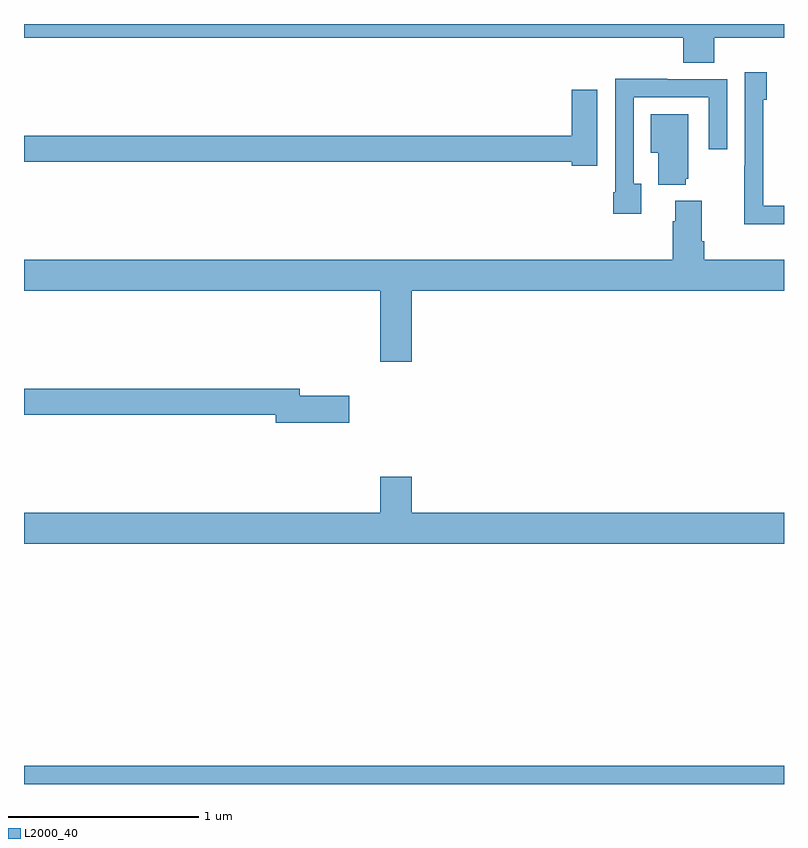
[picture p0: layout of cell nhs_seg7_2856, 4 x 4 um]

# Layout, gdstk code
import gdstk
lib = gdstk.Library(unit=1e-6, precision=1e-09)
def R(c, l, rs):  # rectangles x0, y0, x1, y1
    for r in rs: c.add(gdstk.rectangle(r[:2], r[2:], *l))
def P(c, l, *ps):  # polygons
    for p in ps: c.add(gdstk.Polygon(p, *l))
L2000_40 = (2000, 40)

nhs_seg7_2856 = lib.new_cell('nhs_seg7_2856')
R(nhs_seg7_2856, L2000_40, [(295,1018,299,1018.096)])
P(nhs_seg7_2856, L2000_40, [(298.634,1021.928),(299,1021.928),(299,1022),(295,1022),(295,1021.928),(298.469,1021.928),(298.469,1021.795),(298.634,1021.795)],
  [(299,1021.044),(298.89,1021.044),(298.89,1021.602),(298.909,1021.602),(298.909,1021.747),(298.794,1021.747),(298.794,1021.253),(298.792,1021.253),(298.792,1020.947),(299,1020.947)],
  [(298.249,1021.158),(298.209,1021.158),(298.209,1021.614),(298.605,1021.614),(298.605,1021.341),(298.701,1021.341),(298.701,1021.71),(298.385,1021.71),(298.385,1021.712),(298.113,1021.712),(298.113,1021.114),(298.101,1021.114),(298.101,1021.002),(298.249,1021.002)],
  [(298.018,1021.654),(297.884,1021.654),(297.884,1021.412),(295,1021.412),(295,1021.276),(297.884,1021.276),(297.884,1021.253),(298.018,1021.253)],
  [(298.484,1021.185),(298.495,1021.185),(298.495,1021.525),(298.298,1021.525),(298.298,1021.322),(298.337,1021.322),(298.337,1021.154),(298.484,1021.154)],
  [(297.04,1020.596),(299,1020.596),(299,1020.76),(298.58,1020.76),(298.58,1020.856),(298.567,1020.856),(298.567,1021.069),(298.427,1021.069),(298.427,1020.962),(298.415,1020.962),(298.415,1020.76),(295,1020.76),(295,1020.596),(296.876,1020.596),(296.876,1020.222),(297.04,1020.222)],
  [(296.713,1020.044),(296.452,1020.044),(296.452,1020.08),(295,1020.08),(295,1019.944),(296.324,1019.944),(296.324,1019.902),(296.713,1019.902)],
  [(299,1019.428),(297.04,1019.428),(297.04,1019.617),(296.876,1019.617),(296.876,1019.428),(295,1019.428),(295,1019.264),(299,1019.264)])

lib.write_gds('nhs_seg7_2856.gds')
